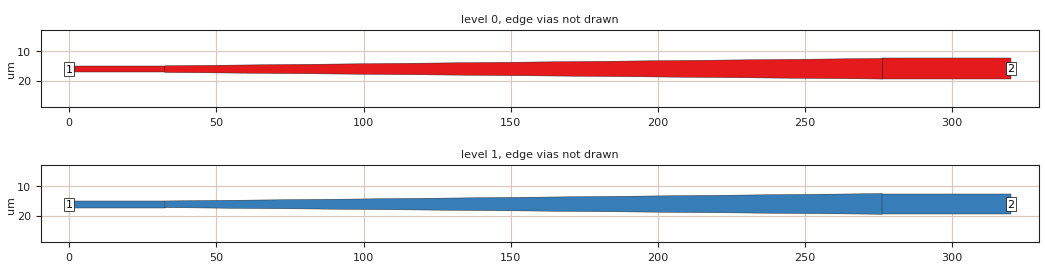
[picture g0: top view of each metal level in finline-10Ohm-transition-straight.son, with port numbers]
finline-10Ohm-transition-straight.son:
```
FTYP SONPROJ 1 ! Sonnet Project File
VER 9.52
HEADER
LIC cambridge1.10515
DAT 01/20/2004 09:19:30
MDATE 01/20/2004 09:15:53
HDATE 01/20/2004 09:15:53
END HEADER
DIM
FREQ GHZ
IND NH
LNG UM
ANG DEG
CON /OH
CAP PF
RES OH
END DIM
FREQ
SIMPLE 500.0 900.0 100.0
END FREQ
CONTROL
SIMPLE
OPTIONS  -dj 
SPEED 0
CACHE_ABS 1
TARG_ABS 300
END CONTROL
GEO
TMET "Free Space" 0 FREESPACE 376.7303136 0 0 0
BMET "Nb (low Freq) 2.5K" 1 SUP 0 0 0 0.139
MET "Nb (low Freq) 2.5K" 1 SUP 0 0 0 0.139
BOX 2 320 32 512 256 20 0
      100 1 1 0 0 0 2 "Air"
      0.4 1 1 0 0 0 2 "Air"
      0.425 5.8 1 0.0004 0 0 2 "SiO"
EVIA1
POLY 1004 1
2
TOLEVEL 1
EVIA1
POLY 1004 1
0
TOLEVEL 1
EVIA1
POLY 1004 1
1
TOLEVEL 1
EVIA1
POLY 1004 1
3
TOLEVEL 1
EVIA1
POLY 1005 1
2
TOLEVEL 1
EVIA1
POLY 1005 1
0
TOLEVEL 1
EVIA1
POLY 1005 1
3
TOLEVEL 1
EVIA1
POLY 1005 1
1
TOLEVEL 1
EVIA1
POLY 1006 1
0
TOLEVEL 1
EVIA1
POLY 1006 1
1
TOLEVEL 1
EVIA1
POLY 1006 1
2
TOLEVEL 1
EVIA1
POLY 1006 1
3
TOLEVEL 1
POR1 STD
POLY 1004 1
3
1 26 0 0 0 0 16.125 
POR1 STD
POLY 1005 1
1
2 10 0 0 0 320 16 
POR1 STD
POLY 1010 1
3
1 26 0 0 0 0 16.125 
POR1 STD
POLY 1014 1
1
2 10 0 0 0 320 16 
NUM 6
0 5 0 N 1004 1 1 100 100 0 0 0 Y
0 15
32.5 15
32.5 17.25
0 17.25
0 15
END
0 5 0 N 1005 1 1 100 100 0 0 0 Y
276.25 12.5
320 12.5
320 19.5
276.25 19.5
276.25 12.5
END
0 5 0 N 1006 1 1 100 100 0 0 0 Y
32.5 17.25
276.25 19.5
276.25 12.5
32.5 15
32.5 17.25
END
1 5 0 N 1010 1 1 100 100 0 0 0 Y
0 15
32.5 15
32.5 17.25
0 17.25
0 15
END
1 5 0 N 1012 1 1 100 100 0 0 0 Y
32.5 17.25
276.25 19.5
276.25 12.5
32.5 15
32.5 17.25
END
1 5 0 N 1014 1 1 100 100 0 0 0 Y
276.25 12.5
320 12.5
320 19.5
276.25 19.5
276.25 12.5
END
END GEO
OPT
MAX 100
VARS
END OPT
VARSWP
END VARSWP
QSG
IMPORT NO
EXTRA_METAL NO
UNITS NO
ALIGN NO
REF NO
VIEW_RES NO
METALS YES
USED YES
END QSG
```
